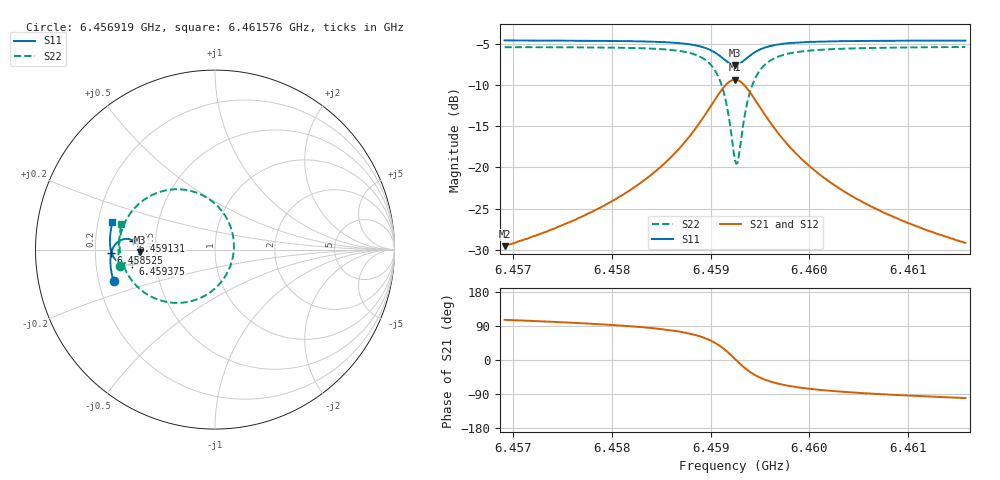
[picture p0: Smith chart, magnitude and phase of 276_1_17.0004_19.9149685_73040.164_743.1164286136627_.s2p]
#  HZ  S  RI  R  50.00
! Rohde & Schwarz Vector Network Analyzer
! Rohde-Schwarz,ZNB20-2Port,1311601062101988,3.16
! Created: UTC 3/20/2024, 11:04:23 PM
! freq[Hz]  re:S11  im:S11  re:S21  im:S21  re:S12  im:S12  re:S22  im:S22
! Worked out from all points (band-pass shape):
!   401 points, 6.456919 GHz to 6.461576 GHz, reference 50 ohm
!   highest |S21| = -9.32 dB at 6.459247 GHz (marker M1); lowest = -29.6 dB at 6.456919 GHz (marker M2)
!   |S21| within 3 dB of the highest: 6.459014 GHz to 6.45948 GHz (465.9 kHz wide, 0.00721 % of centre)
!   lowest |S11| = -7.5 dB at 6.459247 GHz (marker M3), VSWR 2.45, Z = 20.4 - j0.628 ohm
!   |S11| at or under -10 dB: nowhere
!   |S22| runs from -19.5 to -5.3 dB; largest |S21 - S12| = 0.013
!   S11 on the Smith chart (normalised r, x): 6.456919 GHz: 0.26, -0.14; 6.458525 GHz: 0.27, -0.01; 6.459131 GHz: 0.37, +0.05; 6.459375 GHz: 0.37, -0.07; 6.461576 GHz: 0.26, +0.12
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6.4569187e9  -0.565 -0.1773  -0.00921 0.0319  -0.00748 0.0321  -0.5308 -0.0941
6.4576988e9  -0.5797 -0.1093  -0.00607 0.0499  -0.00353 0.0493  -0.5376 -0.00355
6.4581412e9  -0.5832 -0.0652  -0.000163 0.0699  0.00325 0.0686  -0.5299 0.0664
6.4584789e9  -0.5797 -0.0251  0.0131 0.0979  0.0172 0.0952  -0.506 0.1422
6.4585254e9  -0.5782 -0.0186  0.0166 0.1033  0.0207 0.1005  -0.4999 0.1552
6.458735e9  -0.5663 0.0132  0.0423 0.135  0.0465 0.1304  -0.4519 0.227
6.4588864e9  -0.5453 0.0396  0.0845 0.1652  0.0879 0.1588  -0.3739 0.2914
6.4590377e9  -0.4996 0.0594  0.1756 0.1846  0.1766 0.1772  -0.2076 0.3362
6.4591308e9  -0.4554 0.0496  0.2647 0.1541  0.2652 0.1481  -0.0421 0.2874
6.4591774e9  -0.4344 0.0309  0.3082 0.1117  0.3096 0.1065  0.0404 0.2121
6.4592473e9  -0.4197 -0.0127  0.3416 0.016  0.3453 0.009  0.1053 0.0345
6.4592589e9  -0.4201 -0.0206  0.3415 -0.00149  0.3452 -0.00922  0.1054 0.00121
6.4592822e9  -0.4235 -0.036  0.3361 -0.0359  0.3399 -0.045  0.0945 -0.0639
6.4593288e9  -0.4389 -0.0617  0.3082 -0.0953  0.3103 -0.1071  0.0381 -0.176
6.4593753e9  -0.4606 -0.0779  0.2667 -0.1361  0.266 -0.1492  -0.0455 -0.2504
6.4594685e9  -0.5035 -0.0846  0.1832 -0.1673  0.1772 -0.1788  -0.2118 -0.297
6.4596198e9  -0.5469 -0.0641  0.0963 -0.1542  0.0879 -0.1605  -0.3782 -0.2492
6.4597828e9  -0.5684 -0.0367  0.0517 -0.1271  0.0442 -0.1299  -0.4584 -0.1783
6.4600273e9  -0.581 -0.0012  0.0227 -0.0961  0.0169 -0.0967  -0.5064 -0.0968
6.4603766e9  -0.5857 0.04  0.00641 -0.0696  0.00256 -0.0693  -0.5284 -0.0177
6.4608074e9  -0.5838 0.0831  -0.00114 -0.0514  -0.004 -0.0506  -0.5329 0.0504
6.4615758e9  -0.5715 0.151  -0.00627 -0.0343  -0.00805 -0.0334  -0.5219 0.1407
